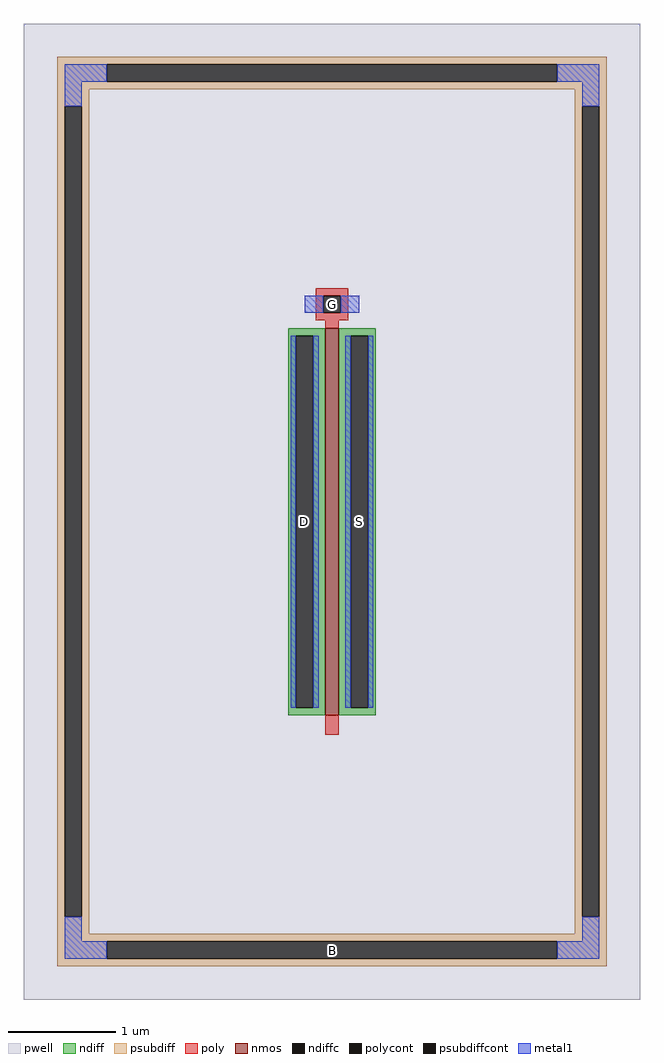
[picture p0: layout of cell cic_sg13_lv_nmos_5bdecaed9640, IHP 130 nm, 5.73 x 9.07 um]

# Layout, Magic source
magic
tech ihp-sg13cmos5l
magscale 1 2
<< pwell >>
rect -573 -907 573 907
<< nmos >>
rect -13 -379 13 341
<< ndiff >>
rect -81 327 -13 341
rect -81 -365 -67 327
rect -35 -365 -13 327
rect -81 -379 -13 -365
rect 13 327 81 341
rect 13 -365 35 327
rect 67 -365 81 327
rect 13 -379 81 -365
<< ndiffc >>
rect -67 -365 -35 327
rect 35 -365 67 327
<< psubdiff >>
rect -511 831 511 845
rect -511 799 -419 831
rect 419 799 511 831
rect -511 785 511 799
rect -511 753 -451 785
rect -511 -753 -497 753
rect -465 -753 -451 753
rect 451 753 511 785
rect -511 -785 -451 -753
rect 451 -753 465 753
rect 497 -753 511 753
rect 451 -785 511 -753
rect -511 -799 511 -785
rect -511 -831 -419 -799
rect 419 -831 511 -799
rect -511 -845 511 -831
<< psubdiffcont >>
rect -419 799 419 831
rect -497 -753 -465 753
rect 465 -753 497 753
rect -419 -831 419 -799
<< poly >>
rect -30 401 30 415
rect -30 369 -16 401
rect 16 369 30 401
rect -30 355 30 369
rect -13 341 13 355
rect -13 -415 13 -379
<< polycont >>
rect -16 369 16 401
<< metal1 >>
rect -497 799 -419 831
rect 419 799 497 831
rect -497 753 -465 799
rect 465 753 497 799
rect -51 369 -16 401
rect 16 369 51 401
rect -77 -365 -67 327
rect -35 -365 -25 327
rect 25 -365 35 327
rect 67 -365 77 327
rect -497 -799 -465 -753
rect 465 -799 497 -753
rect -497 -831 -419 -799
rect 419 -831 497 -799
<< labels >>
rlabel psubdiffcont 0 -815 0 -815 0 B
port 1 nsew
rlabel ndiffc -51 -19 -51 -19 0 D
port 2 nsew
rlabel ndiffc 51 -19 51 -19 0 S
port 3 nsew
rlabel polycont 0 385 0 385 0 G
port 4 nsew
<< properties >>
string FIXED_BBOX -481 -815 481 815
string gencell sg13_lv_nmos
string library sg13cmos5l
string parameters w 3.6 l 0.13 m 1 ng 1 diffcov 100 polycov 100 guard 1 glc 1 grc 1 gtc 1 gbc 1 tbcov 100 rlcov 100 topc 1 botc 0 poverlap 0 doverlap 1 lmin 0.13 wmin 0.15 class mosfet compatible {sg13_lv_nmos sg13_hv_nmos} full_metal 1 conn_gates 1 gate_ring 0 doports 1 viasrc 0 viadrn 0 viagate 0 ccols 1 viagb 0 viagr 0 viagl 0 viagt 0 set_x_to_guard 2.0 set_y_to_guard 2.0
<< end >>
